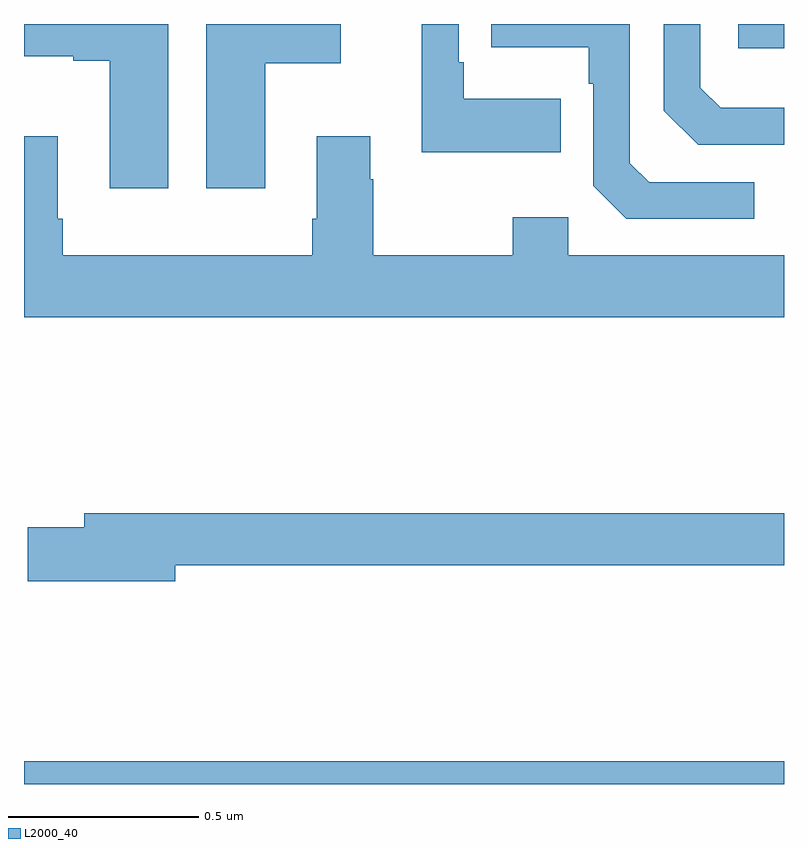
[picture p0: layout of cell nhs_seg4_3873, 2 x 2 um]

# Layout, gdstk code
import gdstk
lib = gdstk.Library(unit=1e-6, precision=1e-09)
def R(c, l, rs):  # rectangles x0, y0, x1, y1
    for r in rs: c.add(gdstk.rectangle(r[:2], r[2:], *l))
def P(c, l, *ps):  # polygons
    for p in ps: c.add(gdstk.Polygon(p, *l))
L2000_40 = (2000, 40)

nhs_seg4_3873 = lib.new_cell('nhs_seg4_3873')
R(nhs_seg4_3873, L2000_40, [(158,820.9,160,820.96), (159.879,822.836,160,822.9)])
P(nhs_seg4_3873, L2000_40, [(159.922,822.483),(159.645,822.483),(159.594,822.534),(159.594,822.9),(159.229,822.9),(159.229,822.839),(159.486,822.839),(159.486,822.743),(159.498,822.743),(159.498,822.474),(159.585,822.387),(159.922,822.387)],
  [(158.635,822.797),(158.833,822.797),(158.833,822.9),(158.48,822.9),(158.48,822.468),(158.635,822.468)],
  [(158.38,822.9),(158,822.9),(158,822.815),(158.129,822.815),(158.129,822.803),(158.225,822.803),(158.225,822.468),(158.38,822.468)],
  [(159.413,822.703),(159.157,822.703),(159.157,822.799),(159.144,822.799),(159.144,822.9),(159.047,822.9),(159.047,822.563),(159.413,822.563)],
  [(160,822.679),(159.833,822.679),(159.78,822.732),(159.78,822.9),(159.684,822.9),(159.684,822.672),(159.774,822.582),(160,822.582)],
  [(160,822.292),(159.432,822.292),(159.432,822.391),(159.286,822.391),(159.286,822.292),(158.919,822.292),(158.919,822.491),(158.911,822.491),(158.911,822.604),(158.771,822.604),(158.771,822.388),(158.759,822.388),(158.759,822.292),(158.102,822.292),(158.102,822.388),(158.089,822.388),(158.089,822.604),(158,822.604),(158,822.128),(160,822.128)],
  [(158.398,821.476),(160,821.476),(160,821.612),(158.159,821.612),(158.159,821.576),(158.01,821.576),(158.01,821.434),(158.398,821.434)])

lib.write_gds('nhs_seg4_3873.gds')
